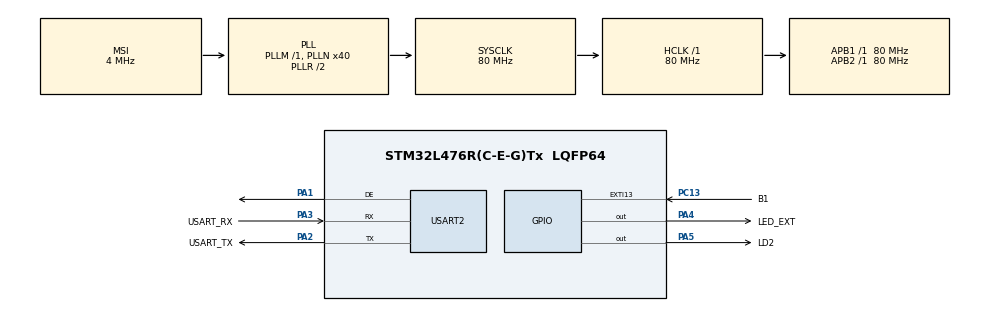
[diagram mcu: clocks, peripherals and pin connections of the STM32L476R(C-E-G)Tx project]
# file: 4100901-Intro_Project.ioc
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Mcu.Family=STM32L4
Mcu.Name=STM32L476R(C-E-G)Tx
Mcu.Package=LQFP64
NVIC.PriorityGroup=NVIC_PRIORITYGROUP_4
PA1.Mode=Hardware Flow Control (RS485)
PA1.Signal=USART2_DE
PA13\ (JTMS-SWDIO).GPIO_Label=TMS
PA13\ (JTMS-SWDIO).Mode=Serial_Wire
PA13\ (JTMS-SWDIO).Signal=SYS_JTMS-SWDIO
PA14\ (JTCK-SWCLK).GPIO_Label=TCK
PA14\ (JTCK-SWCLK).Mode=Serial_Wire
PA14\ (JTCK-SWCLK).Signal=SYS_JTCK-SWCLK
PA2.GPIO_Label=USART_TX
PA2.GPIO_Mode=GPIO_MODE_AF_PP
PA2.GPIO_PuPd=GPIO_NOPULL
PA2.GPIO_Speed=GPIO_SPEED_FREQ_VERY_HIGH
PA2.Mode=Asynchronous
PA2.Signal=USART2_TX
PA3.GPIO_Label=USART_RX
PA3.GPIO_Mode=GPIO_MODE_AF_PP
PA3.GPIO_PuPd=GPIO_NOPULL
PA3.GPIO_Speed=GPIO_SPEED_FREQ_VERY_HIGH
PA3.Mode=Asynchronous
PA3.Signal=USART2_RX
PA4.GPIO_Label=LED_EXT
PA4.Signal=GPIO_Output
PA5.GPIO_Label=LD2
PA5.Signal=GPIO_Output
PB3\ (JTDO-TRACESWO).GPIO_Label=SWO
PB3\ (JTDO-TRACESWO).Signal=SYS_JTDO-SWO
PC13.GPIO_Label=B1
PC13.Signal=GPXTI13
PC14-OSC32_IN\ (PC14).Mode=LSE-External-Oscillator
PC14-OSC32_IN\ (PC14).Signal=RCC_OSC32_IN
PC15-OSC32_OUT\ (PC15).Mode=LSE-External-Oscillator
PC15-OSC32_OUT\ (PC15).Signal=RCC_OSC32_OUT
PH0-OSC_IN\ (PH0).Signal=RCC_OSC_IN
PH1-OSC_OUT\ (PH1).Signal=RCC_OSC_OUT
ProjectManager.HeapSize=0x200
ProjectManager.StackSize=0x400
ProjectManager.TargetToolchain=CMake
RCC.ADCFreq_Value=16000000
RCC.AHBFreq_Value=80000000
RCC.APB1Freq_Value=80000000
RCC.APB1TimFreq_Value=80000000
RCC.APB2Freq_Value=80000000
RCC.APB2TimFreq_Value=80000000
RCC.CortexFreq_Value=80000000
RCC.HCLKFreq_Value=80000000
RCC.HSE_VALUE=8000000
RCC.HSI_VALUE=16000000
RCC.MSI_VALUE=4000000
RCC.PLLN=40
RCC.PREFETCH_ENABLE=1
RCC.SYSCLKFreq_VALUE=80000000
RCC.SYSCLKSource=RCC_SYSCLKSOURCE_PLLCLK
RCC.USBFreq_Value=16000000
RCC.VCOOutputFreq_Value=160000000
USART2.VirtualMode-Asynchronous=VM_ASYNC
USART2.VirtualMode-Hardware\ Flow\ Control\ (RS485)=VM_ASYNC
board=NUCLEO-L476RG

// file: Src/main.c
/* USER CODE BEGIN Header */
/**
  ******************************************************************************
  * @file           : main.c
  * @brief          : Main program body
  ******************************************************************************
  * @attention
  *
  * Copyright (c) 2025 STMicroelectronics.
  * All rights reserved.
  *
  * This software is licensed under terms that can be found in the LICENSE file
  * in the root directory of this software component.
  * If no LICENSE file comes with this software, it is provided AS-IS.
  *
  ******************************************************************************
  */
/* USER CODE END Header */
#include "main.h"
#include "usart.h"
#include "gpio.h"

/* USER CODE BEGIN Includes */
#include <stdio.h>
#include <string.h>
/* USER CODE END Includes */

/* USER CODE BEGIN PV */
uint8_t rx_data;
char tx_buffer[50];

volatile uint8_t button_flag = 0;
volatile uint32_t led_ext_off_time = 0;
/* USER CODE END PV */

void SystemClock_Config(void);

/* USER CODE BEGIN 0 */
void HAL_UART_RxCpltCallback(UART_HandleTypeDef *huart)
{
  if (huart->Instance == USART2)
  {
    HAL_UART_Transmit(&huart2, &rx_data, 1, 10);

    HAL_UART_Receive_IT(&huart2, &rx_data, 1);
  }
}
/* USER CODE END 0 */

int main(void)
{

  /* MCU Configuration--------------------------------------------------------*/

  /* Reset of all peripherals, Initializes the Flash interface and the Systick. */
  HAL_Init();

  /* Configure the system clock */
  SystemClock_Config();

  /* Initialize all configured peripherals */
  MX_GPIO_Init();
  MX_USART2_UART_Init();
  /* USER CODE BEGIN 2 */
  HAL_UART_Receive_IT(&huart2, &rx_data, 1);
  char *welcome_msg = "Sistema de Control Basico - Listo\r\n";
  HAL_UART_Transmit(&huart2, (uint8_t*)welcome_msg, strlen(welcome_msg), 100);
  /* USER CODE END 2 */

  /* Infinite loop */
  while (1)
  {

    /* USER CODE BEGIN 3 */
    static uint32_t last_heartbeat_time = 0;
    if (HAL_GetTick() - last_heartbeat_time >= 1000)
    {
      HAL_GPIO_TogglePin(LD2_GPIO_Port, LD2_Pin);
      last_heartbeat_time = HAL_GetTick();
    }
    if (button_flag == 1)
    {

      HAL_GPIO_WritePin(LED_EXT_GPIO_Port, LED_EXT_Pin, GPIO_PIN_SET);

      HAL_GPIO_WritePin(LD2_GPIO_Port, LD2_Pin, GPIO_PIN_SET);

      led_ext_off_time = HAL_GetTick() + 1500;

      sprintf(tx_buffer, "Usted A Presionado El Botón! LED EXT ON.\r\n");
      HAL_UART_Transmit(&huart2, (uint8_t*)tx_buffer, strlen(tx_buffer), 100);

      button_flag = 0;
    }

    if (led_ext_off_time != 0 && HAL_GetTick() >= led_ext_off_time)
    {

      HAL_GPIO_WritePin(LED_EXT_GPIO_Port, LED_EXT_Pin, GPIO_PIN_RESET);

      sprintf(tx_buffer, "LED EXT OFF (timeout).\r\n");
      HAL_UART_Transmit(&huart2, (uint8_t*)tx_buffer, strlen(tx_buffer), 100);

      led_ext_off_time = 0;
    }

  }
  /* USER CODE END 3 */
}

void SystemClock_Config(void)
{
  RCC_OscInitTypeDef RCC_OscInitStruct = {0};
  RCC_ClkInitTypeDef RCC_ClkInitStruct = {0};

  /** Configure the main internal regulator output voltage
  */
  if (HAL_PWREx_ControlVoltageScaling(PWR_REGULATOR_VOLTAGE_SCALE1) != HAL_OK)
  {
    Error_Handler();
  }

  /** Configure LSE Drive Capability
  */
  HAL_PWR_EnableBkUpAccess();
  __HAL_RCC_LSEDRIVE_CONFIG(RCC_LSEDRIVE_LOW);

  /** Initializes the RCC Oscillators according to the specified parameters
  * in the RCC_OscInitTypeDef structure.
  */
  RCC_OscInitStruct.OscillatorType = RCC_OSCILLATORTYPE_LSE|RCC_OSCILLATORTYPE_MSI;
  RCC_OscInitStruct.LSEState = RCC_LSE_ON;
  RCC_OscInitStruct.MSIState = RCC_MSI_ON;
  RCC_OscInitStruct.MSICalibrationValue = 0;
  RCC_OscInitStruct.MSIClockRange = RCC_MSIRANGE_6;
  RCC_OscInitStruct.PLL.PLLState = RCC_PLL_ON;
  RCC_OscInitStruct.PLL.PLLSource = RCC_PLLSOURCE_MSI;
  RCC_OscInitStruct.PLL.PLLM = 1;
  RCC_OscInitStruct.PLL.PLLN = 40;
  RCC_OscInitStruct.PLL.PLLP = RCC_PLLP_DIV7;
  RCC_OscInitStruct.PLL.PLLQ = RCC_PLLQ_DIV2;
  RCC_OscInitStruct.PLL.PLLR = RCC_PLLR_DIV2;
  if (HAL_RCC_OscConfig(&RCC_OscInitStruct) != HAL_OK)
  {
    Error_Handler();
  }

  /** Initializes the CPU, AHB and APB buses clocks
  */
  RCC_ClkInitStruct.ClockType = RCC_CLOCKTYPE_HCLK|RCC_CLOCKTYPE_SYSCLK
                              |RCC_CLOCKTYPE_PCLK1|RCC_CLOCKTYPE_PCLK2;
  RCC_ClkInitStruct.SYSCLKSource = RCC_SYSCLKSOURCE_PLLCLK;
  RCC_ClkInitStruct.AHBCLKDivider = RCC_SYSCLK_DIV1;
  RCC_ClkInitStruct.APB1CLKDivider = RCC_HCLK_DIV1;
  RCC_ClkInitStruct.APB2CLKDivider = RCC_HCLK_DIV1;

  if (HAL_RCC_ClockConfig(&RCC_ClkInitStruct, FLASH_LATENCY_4) != HAL_OK)
  {
    Error_Handler();
  }

  /** Enable MSI Auto calibration
  */
  HAL_RCCEx_EnableMSIPLLMode();
}

/* USER CODE BEGIN 4 */

void HAL_GPIO_EXTI_Callback(uint16_t GPIO_Pin)
{
  static uint32_t last_press_time = 0;
  uint32_t current_time = HAL_GetTick();

  if (GPIO_Pin == B1_Pin)
  {

    if (current_time - last_press_time > 200)
    {
      button_flag = 1;
      last_press_time = current_time;
    }
  }
}
/* USER CODE END 4 */

void Error_Handler(void)
{
  __disable_irq();
  while (1)
  {
  }
}
